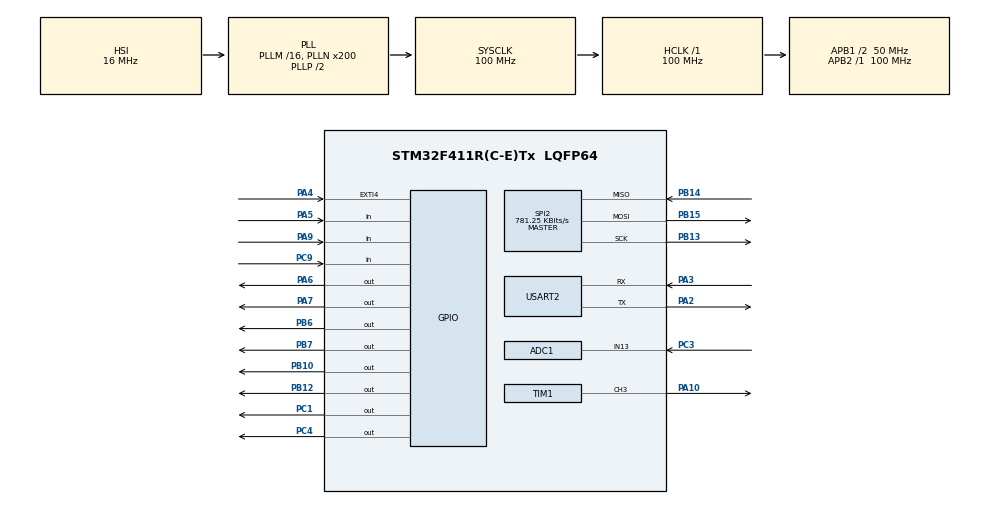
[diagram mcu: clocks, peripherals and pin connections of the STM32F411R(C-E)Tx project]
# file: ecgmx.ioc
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Mcu.Family=STM32F4
Dma.SPI2_TX.2.PeriphInc=DMA_PINC_DISABLE
Dma.SPI2_TX.2.MemInc=DMA_MINC_ENABLE
RCC.CortexFreq_Value=100000000
Dma.USART2_TX.0.PeriphDataAlignment=DMA_PDATAALIGN_BYTE
PB10.GPIO_Speed=GPIO_SPEED_FREQ_HIGH
SPI2.VirtualType=VM_MASTER
NVIC.DMA1_Stream4_IRQn=true\:0\:0\:false\:false\:true\:false\:true
PB13.Signal=SPI2_SCK
PB15.Signal=SPI2_MOSI
Dma.USART2_TX.0.FIFOMode=DMA_FIFOMODE_DISABLE
Dma.USART2_RX.1.MemDataAlignment=DMA_MDATAALIGN_BYTE
RCC.SYSCLKSource=RCC_SYSCLKSOURCE_PLLCLK
ProjectManager.StackSize=0x400
Dma.USART2_TX.0.Priority=DMA_PRIORITY_LOW
TIM1.Prescaler=15
PH0\ -\ OSC_IN.Signal=RCC_OSC_IN
RCC.HCLKFreq_Value=100000000
RCC.APB2TimFreq_Value=100000000
PB6.Signal=GPIO_Output
TIM1.AutomaticOutput=TIM_AUTOMATICOUTPUT_ENABLE
Dma.SPI2_TX.2.PeriphDataAlignment=DMA_PDATAALIGN_BYTE
Dma.USART2_RX.1.PeriphInc=DMA_PINC_DISABLE
PC3.Signal=ADCx_IN13
Dma.SPI2_TX.2.Instance=DMA1_Stream4
Dma.USART2_RX.1.MemInc=DMA_MINC_ENABLE
Dma.SPI2_RX.3.Priority=DMA_PRIORITY_LOW
RCC.AHBFreq_Value=100000000
SPI2.BaudRatePrescaler=SPI_BAUDRATEPRESCALER_64
ADC1.Channel-0\#ChannelRegularConversion=ADC_CHANNEL_13
RCC.HSE_VALUE=10000000
PC14-OSC32_IN.Mode=LSE-External-Oscillator
PB14.Mode=Full_Duplex_Master
Dma.SPI2_RX.3.PeriphDataAlignment=DMA_PDATAALIGN_BYTE
SPI2.CalculateBaudRate=781.25 KBits/s
PB7.Signal=GPIO_Output
Dma.USART2_TX.0.MemDataAlignment=DMA_MDATAALIGN_BYTE
Dma.SPI2_TX.2.MemDataAlignment=DMA_MDATAALIGN_BYTE
Dma.USART2_TX.0.Direction=DMA_MEMORY_TO_PERIPH
Dma.USART2_TX.0.Instance=DMA1_Stream6
VP_TIM1_VS_ClockSourceINT.Mode=Internal
ADC1.SamplingTime-0\#ChannelRegularConversion=ADC_SAMPLETIME_3CYCLES
Mcu.Package=LQFP64
PA6.Signal=GPIO_Output
SPI2.Mode=SPI_MODE_MASTER
Dma.SPI2_TX.2.Priority=DMA_PRIORITY_LOW
USART2.VirtualMode=VM_ASYNC
TIM1.OCFastMode_PWM-PWM\ Generation3\ CH3=TIM_OCFAST_ENABLE
Dma.SPI2_TX.2.Mode=DMA_NORMAL
PA10.Signal=S_TIM1_CH3
SPI2.CLKPhase=SPI_PHASE_2EDGE
PA10.GPIO_Speed=GPIO_SPEED_FREQ_VERY_HIGH
Dma.SPI2_RX.3.Mode=DMA_NORMAL
Dma.USART2_TX.0.Mode=DMA_NORMAL
Dma.Request2=SPI2_TX
Dma.Request1=USART2_RX
RCC.APB1TimFreq_Value=100000000
Dma.Request3=SPI2_RX
Dma.SPI2_RX.3.PeriphInc=DMA_PINC_DISABLE
SPI2.Direction=SPI_DIRECTION_2LINES
TIM1.Period=1
PB13.Mode=Full_Duplex_Master
Dma.USART2_RX.1.Mode=DMA_CIRCULAR
NVIC.DMA1_Stream6_IRQn=true\:0\:0\:false\:false\:true\:false\:true
Dma.Request0=USART2_TX
PA3.Signal=USART2_RX
PC15-OSC32_OUT.Mode=LSE-External-Oscillator
NVIC.EXTI4_IRQn=true\:2\:0\:true\:false\:true\:true\:true
SH.ADCx_IN13.0=ADC1_IN13,IN13
Dma.USART2_RX.1.Priority=DMA_PRIORITY_LOW
ADC1.Rank-0\#ChannelRegularConversion=1
Dma.USART2_RX.1.FIFOMode=DMA_FIFOMODE_DISABLE
Dma.USART2_TX.0.MemInc=DMA_MINC_ENABLE
PH1\ -\ OSC_OUT.Mode=HSE-External-Oscillator
PC4.Signal=GPIO_Output
Dma.SPI2_RX.3.MemDataAlignment=DMA_MDATAALIGN_BYTE
RCC.APB1CLKDivider=RCC_HCLK_DIV2
PC14-OSC32_IN.Signal=RCC_OSC32_IN
PA3.Mode=Asynchronous
PA13.Signal=SYS_JTMS-SWDIO
Dma.SPI2_RX.3.MemInc=DMA_MINC_ENABLE
TIM1.AutoReloadPreload=TIM_AUTORELOAD_PRELOAD_ENABLE
TIM1.Pulse-PWM\ Generation3\ CH3=1
PH0\ -\ OSC_IN.Mode=HSE-External-Oscillator
ProjectManager.TargetToolchain=Other Toolchains (GPDSC)
NVIC.DMA1_Stream5_IRQn=true\:0\:0\:false\:false\:true\:false\:true
Dma.SPI2_TX.2.Direction=DMA_MEMORY_TO_PERIPH
Dma.SPI2_TX.2.FIFOMode=DMA_FIFOMODE_DISABLE
PA9.Signal=GPIO_Input
PA4.GPIO_ModeDefaultEXTI=GPIO_MODE_IT_FALLING
PC15-OSC32_OUT.Signal=RCC_OSC32_OUT
Dma.USART2_RX.1.Instance=DMA1_Stream5
PB10.Signal=GPIO_Output
PB14.Signal=SPI2_MISO
Dma.USART2_RX.1.Direction=DMA_PERIPH_TO_MEMORY
PA5.Signal=GPIO_Input
Dma.USART2_RX.1.PeriphDataAlignment=DMA_PDATAALIGN_BYTE
PH1\ -\ OSC_OUT.Signal=RCC_OSC_OUT
board=custom
RCC.VCOOutputFreq_Value=200000000
Dma.SPI2_RX.3.Instance=DMA1_Stream3
PB15.Mode=Full_Duplex_Master
RCC.APB2Freq_Value=100000000
Mcu.Name=STM32F411R(C-E)Tx
PA2.Signal=USART2_TX
RCC.48MHZClocksFreq_Value=50000000
PA4.Signal=GPXTI4
RCC.SYSCLKFreq_VALUE=100000000
ADC1.master=1
Dma.USART2_TX.0.PeriphInc=DMA_PINC_DISABLE
PA14.Signal=SYS_JTCK-SWCLK
ProjectManager.HeapSize=0x200
SH.S_TIM1_CH3.0=TIM1_CH3,PWM Generation3 CH3
RCC.HSI_VALUE=16000000
NVIC.PriorityGroup=NVIC_PRIORITYGROUP_4
ADC1.NbrOfConversionFlag=1
RCC.PLLN=200
PA2.Mode=Asynchronous
NVIC.DMA1_Stream3_IRQn=true\:0\:0\:false\:false\:true\:false\:true
PC9.Signal=GPIO_Input
TIM1.Channel-PWM\ Generation3\ CH3=TIM_CHANNEL_3
RCC.APB1Freq_Value=50000000
PC1.Signal=GPIO_Output
Dma.SPI2_RX.3.Direction=DMA_PERIPH_TO_MEMORY
PB12.Signal=GPIO_Output
PA7.Signal=GPIO_Output
Dma.SPI2_RX.3.FIFOMode=DMA_FIFOMODE_DISABLE

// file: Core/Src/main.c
/* USER CODE BEGIN Header */
/**
  ******************************************************************************
  * @file           : main.c
  * @brief          : Main program body
  ******************************************************************************
  * @attention
  *
  * <h2><center>&copy; Copyright (c) 2020 STMicroelectronics.
  * All rights reserved.</center></h2>
  *
  * This software component is licensed by ST under BSD 3-Clause license,
  * the "License"; You may not use this file except in compliance with the
  * License. You may obtain a copy of the License at:
  *                        opensource.org/licenses/BSD-3-Clause
  *
  ******************************************************************************
  */
/* USER CODE END Header */
#include "main.h"

/* USER CODE BEGIN PD */
#define INITIALIZE_SP_AT_RESET
/* USER CODE END PD */

ADC_HandleTypeDef hadc1;

SPI_HandleTypeDef hspi2;
DMA_HandleTypeDef hdma_spi2_tx;
DMA_HandleTypeDef hdma_spi2_rx;

TIM_HandleTypeDef htim1;

UART_HandleTypeDef huart2;
DMA_HandleTypeDef hdma_usart2_tx;
DMA_HandleTypeDef hdma_usart2_rx;

/* USER CODE BEGIN PV */
//DMA_HandleTypeDef usart2_DMAHandle;
#define usart2_DMAHandle hdma_usart2_tx
//DMA_HandleTypeDef spi2Rx_DMA;
#define spi2Rx_DMA hdma_spi2_rx
//DMA_HandleTypeDef spi2Tx_DMA;
#define spi2Tx_DMA hdma_spi2_tx
/* USER CODE END PV */

void SystemClock_Config(void);
static void MX_GPIO_Init(void);
static void MX_DMA_Init(void);
static void MX_ADC1_Init(void);
static void MX_USART2_UART_Init(void);
static void MX_SPI2_Init(void);
static void MX_TIM1_Init(void);
/* USER CODE BEGIN PFP */
void ecgMain(void);
void ecgInit(SPI_HandleTypeDef *handle, UART_HandleTypeDef *huart2);
//char spi2Rx_TransferBuffer[256];
//char spi2Tx_TransferBuffer[256];
//void DMA1_Stream6_IRQHandler()
//{
//	HAL_GPIO_WritePin(GPIOB, GPIO_PIN_6, GPIO_PIN_SET);
//	HAL_DMA_IRQHandler(&usart2_DMAHandle);
//	HAL_GPIO_WritePin(GPIOB, GPIO_PIN_6, GPIO_PIN_RESET);
//}

//void DMA1_Stream3_IRQHandler()
//{
//
//	HAL_DMA_IRQHandler(&spi2Rx_DMA);
//
//}
//
//void DMA1_Stream4_IRQHandler()
//{
//
//	HAL_DMA_IRQHandler(&spi2Tx_DMA);
//
//}
void HAL_UART_TxCpltCallback(UART_HandleTypeDef *huart)
{
	HAL_GPIO_WritePin(GPIOB, GPIO_PIN_7, GPIO_PIN_SET);
	HAL_GPIO_WritePin(GPIOB, GPIO_PIN_7, GPIO_PIN_RESET);
}

void HAL_UART_TxHalfCpltCallback(UART_HandleTypeDef *huart)
{
	HAL_GPIO_WritePin(GPIOB, GPIO_PIN_7, GPIO_PIN_SET);
	HAL_GPIO_WritePin(GPIOB, GPIO_PIN_7, GPIO_PIN_RESET);
}

/* USER CODE END PFP */

int main(void)
{

  /* MCU Configuration--------------------------------------------------------*/

  /* Reset of all peripherals, Initializes the Flash interface and the Systick. */
  HAL_Init();

  /* Configure the system clock */
  SystemClock_Config();

  /* Initialize all configured peripherals */
  MX_GPIO_Init();
  MX_DMA_Init();
  MX_ADC1_Init();
  MX_USART2_UART_Init();
  MX_SPI2_Init();
  MX_TIM1_Init();
  /* USER CODE BEGIN 2 */
	//__USART2_CLK_ENABLE();
	//__GPIOA_CLK_ENABLE();

	//GPIO_InitTypeDef GPIO_InitStructure;
	//======================
	   //usart dma1 setup

//	   GPIO_InitStructure.Pin = GPIO_PIN_2;
//	GPIO_InitStructure.Mode = GPIO_MODE_AF_PP;
//	GPIO_InitStructure.Alternate = GPIO_AF7_USART2;
//	GPIO_InitStructure.Speed = GPIO_SPEED_HIGH;
//	GPIO_InitStructure.Pull = GPIO_NOPULL;  //GPIO_PULLUP&GPIO_PULLDOWN;//
//	HAL_GPIO_Init(GPIOA, &GPIO_InitStructure);
//	GPIO_InitStructure.Pin = GPIO_PIN_3;
//	GPIO_InitStructure.Mode = GPIO_MODE_AF_OD;
//	HAL_GPIO_Init(GPIOA, &GPIO_InitStructure);
//
//	__DMA1_CLK_ENABLE();
//	usart2_DMAHandle.Instance = DMA1_Stream6;
//	usart2_DMAHandle.Init.Channel = DMA_CHANNEL_4;
//
//	usart2_DMAHandle.Init.Direction = DMA_MEMORY_TO_PERIPH;
//	usart2_DMAHandle.Init.PeriphInc = DMA_PINC_DISABLE;
//	usart2_DMAHandle.Init.MemInc = DMA_MINC_ENABLE;
//	usart2_DMAHandle.Init.Mode = DMA_CIRCULAR;
//
//	usart2_DMAHandle.Init.Priority = DMA_PRIORITY_HIGH; //DMA_PRIORITY_VERY_HIGH;
//
//	usart2_DMAHandle.Init.PeriphDataAlignment = DMA_PDATAALIGN_BYTE;
//	usart2_DMAHandle.Init.MemDataAlignment = DMA_PDATAALIGN_BYTE;
//
//	if (HAL_DMA_Init(&usart2_DMAHandle) != HAL_OK)
//		asm("bkpt 255");
//
//	__HAL_LINKDMA(&huart2, hdmatx, usart2_DMAHandle);
//	NVIC_EnableIRQ(DMA1_Stream6_IRQn);

	//=====================================
	//spi tx dma2 setup
//	    __SPI2_CLK_ENABLE();
//	//init already done at  MX_SPI2_Init();
//
//   // __DMA1_CLK_ENABLE();
////DMA_HandleTypeDef spi2Tx_DMA = { .Instance = DMA1_Stream4 };
//	spi2Tx_DMA.Instance = DMA1_Stream4;
//	spi2Tx_DMA.Init.Channel = DMA_CHANNEL_0;
//	spi2Tx_DMA.Init.Direction = DMA_MEMORY_TO_PERIPH;
//	spi2Tx_DMA.Init.PeriphInc = DMA_PINC_DISABLE;
//	spi2Tx_DMA.Init.MemInc = DMA_MINC_ENABLE;
//	spi2Tx_DMA.Init.Mode = DMA_CIRCULAR;
//
//	spi2Tx_DMA.Init.PeriphDataAlignment = DMA_PDATAALIGN_BYTE;
//	spi2Tx_DMA.Init.MemDataAlignment = DMA_MDATAALIGN_BYTE;
//	if (HAL_DMA_Init(&spi2Tx_DMA) != HAL_OK)
//		asm("bkpt 255");
//
//	__HAL_LINKDMA(&hspi2, hdmatx, spi2Tx_DMA);
//
//	HAL_NVIC_EnableIRQ(DMA1_Stream4_IRQn);
//	//	if (HAL_SPI_Transmit_DMA(&hspi2, (uint8_t *)spi2Tx_TransferBuffer, sizeof(spi2Tx_TransferBuffer)) != HAL_OK)
//	//		asm("bkpt 255");
//		//====================================================
//		//spi2 Rx dma setup
//		//DMA_HandleTypeDef spi2Rx_DMA = { .Instance = DMA1_Stream3 };
//		__DMA1_CLK_ENABLE();  //already enabled for usart2 above
//		spi2Rx_DMA.Instance = DMA1_Stream3;
//	spi2Rx_DMA.Init.Channel = DMA_CHANNEL_0;
//	spi2Rx_DMA.Init.Direction = DMA_PERIPH_TO_MEMORY; // DMA_MEMORY_TO_PERIPH;
//	spi2Rx_DMA.Init.PeriphInc = DMA_PINC_DISABLE;
//	spi2Rx_DMA.Init.MemInc = DMA_MINC_ENABLE;
//	spi2Rx_DMA.Init.Mode = DMA_CIRCULAR;
//	spi2Rx_DMA.Init.Priority = DMA_PRIORITY_VERY_HIGH;
//	spi2Rx_DMA.Init.PeriphDataAlignment = DMA_PDATAALIGN_BYTE;
//	spi2Rx_DMA.Init.MemDataAlignment = DMA_MDATAALIGN_BYTE;
//	spi2Rx_DMA.Init.FIFOMode = DMA_FIFOMODE_DISABLE;
//	if (HAL_DMA_Init(&spi2Rx_DMA) != HAL_OK)
//		asm("bkpt 255");
//
//	__HAL_LINKDMA(&hspi2, hdmarx, spi2Rx_DMA);
//
//	HAL_NVIC_EnableIRQ(DMA1_Stream3_IRQn);
//	//if (HAL_SPI_Receive_DMA(&hspi2, (uint8_t *)spi2Rx_TransferBuffer, sizeof(spi2Rx_TransferBuffer)) != HAL_OK)
//	if(HAL_SPI_TransmitReceive_DMA(&hspi2, (uint8_t *)spi2Tx_TransferBuffer, (uint8_t *)spi2Rx_TransferBuffer, sizeof(spi2Rx_TransferBuffer)) != HAL_OK)
//		asm("bkpt 255");
//
	//=====================================================
	//external interrupt pa4 drdy
	//moved to ADS1298.cpp
//	EXTI_ConfigTypeDef ExtiConfig;
//	ExtiConfig.Line = EXTI4_IRQn;
//	ExtiConfig.Mode = EXTI_MODE_INTERRUPT;
//	ExtiConfig.Trigger = EXTI_TRIGGER_FALLING;
//	ExtiConfig.GPIOSel = EXTI_GPIOA;
//	HAL_EXTI_SetConfigLine(&hexti, &ExtiConfig);
//	HAL_EXTI_RegisterCallback(&hexti,HAL_EXTI_COMMON_CB_ID, &myEXTI13IRQHandler);
	//=====================================================
  /* USER CODE END 2 */

  /* Infinite loop */
  /* USER CODE BEGIN WHILE */

	//HAL_UART_TxCpltCallback()
    HAL_GPIO_WritePin(GPIOB, GPIO_PIN_6, GPIO_PIN_SET);

	HAL_TIM_PWM_Start(&htim1, TIM_CHANNEL_3);

	ecgInit(&hspi2, &huart2);
//	HAL_TIM_PWM_Stop(&htim1, TIM_CHANNEL_3);
//	MX_TIM1_Init();
//	HAL_TIM_PWM_Start(&htim1, TIM_CHANNEL_3);

	while (1)
	{
    /* USER CODE END WHILE */

    /* USER CODE BEGIN 3 */
		ecgMain();
		//	  HAL_GPIO_WritePin(GPIOA, GPIO_PIN_10, GPIO_PIN_SET);
		//	  HAL_GPIO_WritePin(GPIOA, GPIO_PIN_10, GPIO_PIN_RESET);
	}
  /* USER CODE END 3 */
}

void SystemClock_Config(void)
{
  RCC_OscInitTypeDef RCC_OscInitStruct = {0};
  RCC_ClkInitTypeDef RCC_ClkInitStruct = {0};

  /** Configure the main internal regulator output voltage
  */
  __HAL_RCC_PWR_CLK_ENABLE();
  __HAL_PWR_VOLTAGESCALING_CONFIG(PWR_REGULATOR_VOLTAGE_SCALE1);
  /** Initializes the RCC Oscillators according to the specified parameters
  * in the RCC_OscInitTypeDef structure.
  */
  RCC_OscInitStruct.OscillatorType = RCC_OSCILLATORTYPE_HSI;
  RCC_OscInitStruct.HSIState = RCC_HSI_ON;
  RCC_OscInitStruct.HSICalibrationValue = RCC_HSICALIBRATION_DEFAULT;
  RCC_OscInitStruct.PLL.PLLState = RCC_PLL_ON;
  RCC_OscInitStruct.PLL.PLLSource = RCC_PLLSOURCE_HSI;
  RCC_OscInitStruct.PLL.PLLM = 16;
  RCC_OscInitStruct.PLL.PLLN = 200;
  RCC_OscInitStruct.PLL.PLLP = RCC_PLLP_DIV2;
  RCC_OscInitStruct.PLL.PLLQ = 4;
  if (HAL_RCC_OscConfig(&RCC_OscInitStruct) != HAL_OK)
  {
    Error_Handler();
  }
  /** Initializes the CPU, AHB and APB buses clocks
  */
  RCC_ClkInitStruct.ClockType = RCC_CLOCKTYPE_HCLK|RCC_CLOCKTYPE_SYSCLK
                              |RCC_CLOCKTYPE_PCLK1|RCC_CLOCKTYPE_PCLK2;
  RCC_ClkInitStruct.SYSCLKSource = RCC_SYSCLKSOURCE_PLLCLK;
  RCC_ClkInitStruct.AHBCLKDivider = RCC_SYSCLK_DIV1;
  RCC_ClkInitStruct.APB1CLKDivider = RCC_HCLK_DIV2;
  RCC_ClkInitStruct.APB2CLKDivider = RCC_HCLK_DIV1;

  if (HAL_RCC_ClockConfig(&RCC_ClkInitStruct, FLASH_LATENCY_3) != HAL_OK)
  {
    Error_Handler();
  }
}

static void MX_ADC1_Init(void)
{

  ADC_ChannelConfTypeDef sConfig = {0};

  /** Configure the global features of the ADC (Clock, Resolution, Data Alignment and number of conversion)
  */
  hadc1.Instance = ADC1;
  hadc1.Init.ClockPrescaler = ADC_CLOCK_SYNC_PCLK_DIV4;
  hadc1.Init.Resolution = ADC_RESOLUTION_12B;
  hadc1.Init.ScanConvMode = DISABLE;
  hadc1.Init.ContinuousConvMode = DISABLE;
  hadc1.Init.DiscontinuousConvMode = DISABLE;
  hadc1.Init.ExternalTrigConvEdge = ADC_EXTERNALTRIGCONVEDGE_NONE;
  hadc1.Init.ExternalTrigConv = ADC_SOFTWARE_START;
  hadc1.Init.DataAlign = ADC_DATAALIGN_RIGHT;
  hadc1.Init.NbrOfConversion = 1;
  hadc1.Init.DMAContinuousRequests = DISABLE;
  hadc1.Init.EOCSelection = ADC_EOC_SINGLE_CONV;
  if (HAL_ADC_Init(&hadc1) != HAL_OK)
  {
    Error_Handler();
  }
  /** Configure for the selected ADC regular channel its corresponding rank in the sequencer and its sample time.
  */
  sConfig.Channel = ADC_CHANNEL_13;
  sConfig.Rank = 1;
  sConfig.SamplingTime = ADC_SAMPLETIME_3CYCLES;
  if (HAL_ADC_ConfigChannel(&hadc1, &sConfig) != HAL_OK)
  {
    Error_Handler();
  }

}

static void MX_SPI2_Init(void)
{

  /* SPI2 parameter configuration*/
  hspi2.Instance = SPI2;
  hspi2.Init.Mode = SPI_MODE_MASTER;
  hspi2.Init.Direction = SPI_DIRECTION_2LINES;
  hspi2.Init.DataSize = SPI_DATASIZE_8BIT;
  hspi2.Init.CLKPolarity = SPI_POLARITY_LOW;
  hspi2.Init.CLKPhase = SPI_PHASE_2EDGE;
  hspi2.Init.NSS = SPI_NSS_SOFT;
  hspi2.Init.BaudRatePrescaler = SPI_BAUDRATEPRESCALER_64;
  hspi2.Init.FirstBit = SPI_FIRSTBIT_MSB;
  hspi2.Init.TIMode = SPI_TIMODE_DISABLE;
  hspi2.Init.CRCCalculation = SPI_CRCCALCULATION_DISABLE;
  hspi2.Init.CRCPolynomial = 10;
  if (HAL_SPI_Init(&hspi2) != HAL_OK)
  {
    Error_Handler();
  }

}

static void MX_TIM1_Init(void)
{

  TIM_ClockConfigTypeDef sClockSourceConfig = {0};
  TIM_MasterConfigTypeDef sMasterConfig = {0};
  TIM_OC_InitTypeDef sConfigOC = {0};
  TIM_BreakDeadTimeConfigTypeDef sBreakDeadTimeConfig = {0};

  /* USER CODE BEGIN TIM1_Init 1 */
	GPIO_InitTypeDef GPIO_InitStructure = { 0 };
	GPIO_InitStructure.Pin = GPIO_PIN_10;
	GPIO_InitStructure.Mode = GPIO_MODE_AF_PP;   //GPIO_MODE_AF_OD; //GPIO_MODE_AF_PP;  //GPIO_MODE_OUTPUT_PP;//
	GPIO_InitStructure.Pull = GPIO_NOPULL;
	GPIO_InitStructure.Speed = GPIO_SPEED_FREQ_VERY_HIGH;
	HAL_GPIO_Init(GPIOA, &GPIO_InitStructure);
  /* USER CODE END TIM1_Init 1 */
  htim1.Instance = TIM1;
  htim1.Init.Prescaler = 15;
  htim1.Init.CounterMode = TIM_COUNTERMODE_UP;
  htim1.Init.Period = 1;
  htim1.Init.ClockDivision = TIM_CLOCKDIVISION_DIV1;
  htim1.Init.RepetitionCounter = 0;
  htim1.Init.AutoReloadPreload = TIM_AUTORELOAD_PRELOAD_ENABLE;
  if (HAL_TIM_Base_Init(&htim1) != HAL_OK)
  {
    Error_Handler();
  }
  sClockSourceConfig.ClockSource = TIM_CLOCKSOURCE_INTERNAL;
  if (HAL_TIM_ConfigClockSource(&htim1, &sClockSourceConfig) != HAL_OK)
  {
    Error_Handler();
  }
  if (HAL_TIM_PWM_Init(&htim1) != HAL_OK)
  {
    Error_Handler();
  }
  sMasterConfig.MasterOutputTrigger = TIM_TRGO_RESET;
  sMasterConfig.MasterSlaveMode = TIM_MASTERSLAVEMODE_DISABLE;
  if (HAL_TIMEx_MasterConfigSynchronization(&htim1, &sMasterConfig) != HAL_OK)
  {
    Error_Handler();
  }
  sConfigOC.OCMode = TIM_OCMODE_PWM1;
  sConfigOC.Pulse = 1;
  sConfigOC.OCPolarity = TIM_OCPOLARITY_HIGH;
  sConfigOC.OCNPolarity = TIM_OCNPOLARITY_HIGH;
  sConfigOC.OCFastMode = TIM_OCFAST_ENABLE;
  sConfigOC.OCIdleState = TIM_OCIDLESTATE_RESET;
  sConfigOC.OCNIdleState = TIM_OCNIDLESTATE_RESET;
  if (HAL_TIM_PWM_ConfigChannel(&htim1, &sConfigOC, TIM_CHANNEL_3) != HAL_OK)
  {
    Error_Handler();
  }
  sBreakDeadTimeConfig.OffStateRunMode = TIM_OSSR_DISABLE;
  sBreakDeadTimeConfig.OffStateIDLEMode = TIM_OSSI_DISABLE;
  sBreakDeadTimeConfig.LockLevel = TIM_LOCKLEVEL_OFF;
  sBreakDeadTimeConfig.DeadTime = 0;
  sBreakDeadTimeConfig.BreakState = TIM_BREAK_DISABLE;
  sBreakDeadTimeConfig.BreakPolarity = TIM_BREAKPOLARITY_HIGH;
  sBreakDeadTimeConfig.AutomaticOutput = TIM_AUTOMATICOUTPUT_ENABLE;
  if (HAL_TIMEx_ConfigBreakDeadTime(&htim1, &sBreakDeadTimeConfig) != HAL_OK)
  {
    Error_Handler();
  }
  HAL_TIM_MspPostInit(&htim1);

}

static void MX_USART2_UART_Init(void)
{

  huart2.Instance = USART2;
  huart2.Init.BaudRate = 115200;
  huart2.Init.WordLength = UART_WORDLENGTH_8B;
  huart2.Init.StopBits = UART_STOPBITS_1;
  huart2.Init.Parity = UART_PARITY_NONE;
  huart2.Init.Mode = UART_MODE_TX_RX;
  huart2.Init.HwFlowCtl = UART_HWCONTROL_NONE;
  huart2.Init.OverSampling = UART_OVERSAMPLING_16;
  if (HAL_UART_Init(&huart2) != HAL_OK)
  {
    Error_Handler();
  }
  /* USER CODE BEGIN USART2_Init 2 */
	HAL_NVIC_SetPriority(USART2_IRQn, 0, 0);
	HAL_NVIC_EnableIRQ(USART2_IRQn);
  /* USER CODE END USART2_Init 2 */

}

static void MX_DMA_Init(void)
{

  /* DMA controller clock enable */
  __HAL_RCC_DMA1_CLK_ENABLE();

  /* DMA interrupt init */
  /* DMA1_Stream3_IRQn interrupt configuration */
  HAL_NVIC_SetPriority(DMA1_Stream3_IRQn, 0, 0);
  HAL_NVIC_EnableIRQ(DMA1_Stream3_IRQn);
  /* DMA1_Stream4_IRQn interrupt configuration */
  HAL_NVIC_SetPriority(DMA1_Stream4_IRQn, 0, 0);
  HAL_NVIC_EnableIRQ(DMA1_Stream4_IRQn);
  /* DMA1_Stream5_IRQn interrupt configuration */
  HAL_NVIC_SetPriority(DMA1_Stream5_IRQn, 0, 0);
  HAL_NVIC_EnableIRQ(DMA1_Stream5_IRQn);
  /* DMA1_Stream6_IRQn interrupt configuration */
  HAL_NVIC_SetPriority(DMA1_Stream6_IRQn, 0, 0);
  HAL_NVIC_EnableIRQ(DMA1_Stream6_IRQn);

}

static void MX_GPIO_Init(void)
{
  GPIO_InitTypeDef GPIO_InitStruct = {0};

  /* GPIO Ports Clock Enable */
  __HAL_RCC_GPIOC_CLK_ENABLE();
  __HAL_RCC_GPIOH_CLK_ENABLE();
  __HAL_RCC_GPIOA_CLK_ENABLE();
  __HAL_RCC_GPIOB_CLK_ENABLE();

  /*Configure GPIO pin Output Level */
  HAL_GPIO_WritePin(GPIOC, GPIO_PIN_1|GPIO_PIN_4, GPIO_PIN_RESET);

  /*Configure GPIO pin Output Level */
  HAL_GPIO_WritePin(GPIOA, GPIO_PIN_6|GPIO_PIN_7, GPIO_PIN_RESET);

  /*Configure GPIO pin Output Level */
  HAL_GPIO_WritePin(GPIOB, GPIO_PIN_10|GPIO_PIN_12|GPIO_PIN_6|GPIO_PIN_7, GPIO_PIN_RESET);

  /*Configure GPIO pins : PC1 PC4 */
  GPIO_InitStruct.Pin = GPIO_PIN_1|GPIO_PIN_4;
  GPIO_InitStruct.Mode = GPIO_MODE_OUTPUT_PP;
  GPIO_InitStruct.Pull = GPIO_NOPULL;
  GPIO_InitStruct.Speed = GPIO_SPEED_FREQ_LOW;
  HAL_GPIO_Init(GPIOC, &GPIO_InitStruct);

  /*Configure GPIO pin : PA4 */
  GPIO_InitStruct.Pin = GPIO_PIN_4;
  GPIO_InitStruct.Mode = GPIO_MODE_IT_FALLING;
  GPIO_InitStruct.Pull = GPIO_NOPULL;
  HAL_GPIO_Init(GPIOA, &GPIO_InitStruct);

  /*Configure GPIO pins : PA5 PA9 */
  GPIO_InitStruct.Pin = GPIO_PIN_5|GPIO_PIN_9;
  GPIO_InitStruct.Mode = GPIO_MODE_INPUT;
  GPIO_InitStruct.Pull = GPIO_NOPULL;
  HAL_GPIO_Init(GPIOA, &GPIO_InitStruct);

  /*Configure GPIO pins : PA6 PA7 */
  GPIO_InitStruct.Pin = GPIO_PIN_6|GPIO_PIN_7;
  GPIO_InitStruct.Mode = GPIO_MODE_OUTPUT_PP;
  GPIO_InitStruct.Pull = GPIO_NOPULL;
  GPIO_InitStruct.Speed = GPIO_SPEED_FREQ_LOW;
  HAL_GPIO_Init(GPIOA, &GPIO_InitStruct);

  /*Configure GPIO pin : PB10 */
  GPIO_InitStruct.Pin = GPIO_PIN_10;
  GPIO_InitStruct.Mode = GPIO_MODE_OUTPUT_PP;
  GPIO_InitStruct.Pull = GPIO_NOPULL;
  GPIO_InitStruct.Speed = GPIO_SPEED_FREQ_HIGH;
  HAL_GPIO_Init(GPIOB, &GPIO_InitStruct);

  /*Configure GPIO pins : PB12 PB6 PB7 */
  GPIO_InitStruct.Pin = GPIO_PIN_12|GPIO_PIN_6|GPIO_PIN_7;
  GPIO_InitStruct.Mode = GPIO_MODE_OUTPUT_PP;
  GPIO_InitStruct.Pull = GPIO_NOPULL;
  GPIO_InitStruct.Speed = GPIO_SPEED_FREQ_LOW;
  HAL_GPIO_Init(GPIOB, &GPIO_InitStruct);

  /*Configure GPIO pin : PC9 */
  GPIO_InitStruct.Pin = GPIO_PIN_9;
  GPIO_InitStruct.Mode = GPIO_MODE_INPUT;
  GPIO_InitStruct.Pull = GPIO_NOPULL;
  HAL_GPIO_Init(GPIOC, &GPIO_InitStruct);

  /* EXTI interrupt init*/
  HAL_NVIC_SetPriority(EXTI4_IRQn, 2, 0);
  HAL_NVIC_EnableIRQ(EXTI4_IRQn);

}

/* USER CODE BEGIN 4 */
//void HAL_SPI_TxCpltCallback(SPI_HandleTypeDef *hspi)
//{
//	for (int i = sizeof(s_TransferBuffer) / sizeof(s_TransferBuffer[0]) / 2; i < sizeof(s_TransferBuffer) / sizeof(s_TransferBuffer[0]); i++)
//		s_TransferBuffer[i] = (s_FrameCounter << 8) | (i & 0xFF);
//	s_FrameCounter++;
//}

/* USER CODE END 4 */

void Error_Handler(void)
{
}

/************************ (C) COPYRIGHT STMicroelectronics *****END OF FILE****/
